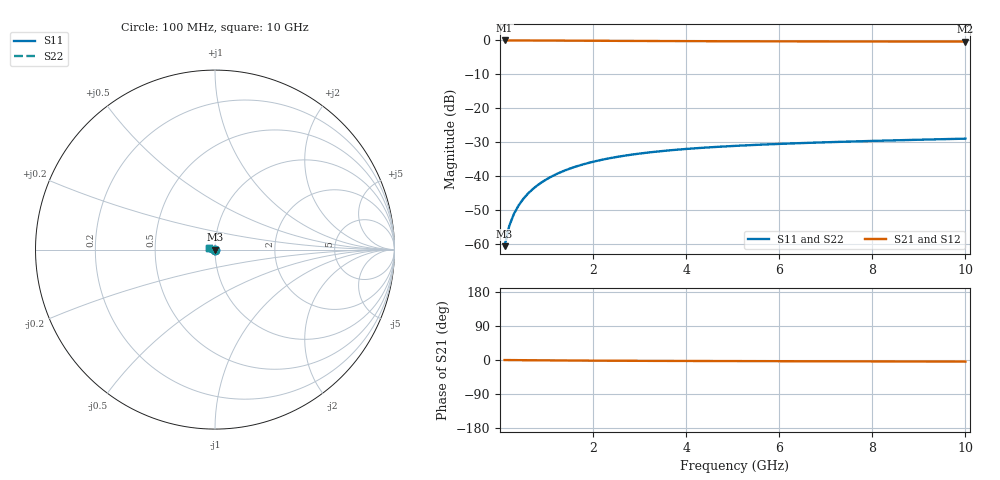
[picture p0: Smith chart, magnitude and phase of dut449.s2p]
! Touchstone file exported from HFSS 2024.1.0
!  File:  C:/UserFiles/LocalFiles/RDL_TSV_Batchsim/temp_TSV1_449_1779696320.aedt
!  Generated:  04:09:56 PM May 25, 2026
!  Design:  TSV1
!  Project:  temp_TSV1_449_1779696320
!  Setup:  Setup1
!  Solution:  Sweep
! Variables:
!  dtsv = 9.94um
!  hbump = 3um
!  htsv = 62.8um
!  lrdl = 252.1521522um
!  p = 40
!  p1 = 52.81um
!  t = 500um
!  trdl = 3um
!  wrdl = 24.89489489um
# GHz S MA R 50.000000
! Terminal data exported
! Port[1] = TSV22_T1
! Port[2] = TSV22_T2
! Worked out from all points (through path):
!   100 points, 100 MHz to 10 GHz, reference 50 ohm
!   highest |S21| = 0.00 dB at 100 MHz (marker M1); lowest = -0.3 dB at 10 GHz (marker M2)
!   lowest |S11| = -60.5 dB at 100 MHz (marker M3), VSWR 1.00, Z = 50 - j0.0936 ohm
!   |S11| at or under -10 dB: start of sweep to end of sweep
!   |S22| runs from -60.5 to -28.9 dB; largest |S21 - S12| = 3.2e-15
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0.1  0.0009407 -84.2  0.9998 -0.1  0.9998 -0.1  0.0009407 -84.2
! Gamma 0 0 0 0
! Port Impedance 50 0 50 0
0.2  0.001871 -89.8  0.9997 -0.2  0.9997 -0.2  0.001871 -89.8
0.3  0.002804 -93.0  0.9996 -0.3  0.9996 -0.3  0.002804 -93.0
0.4  0.003733 -95.6  0.9993 -0.4  0.9993 -0.4  0.003733 -95.6
0.5  0.004654 -98.0  0.999 -0.5  0.999 -0.5  0.004654 -98.0
0.6  0.005565 -100.2  0.9987 -0.6  0.9987 -0.6  0.005565 -100.2
0.7  0.006462 -102.3  0.9983 -0.7  0.9983 -0.7  0.006462 -102.3
0.8  0.007345 -104.3  0.9978 -0.8  0.9978 -0.8  0.007345 -104.3
0.9  0.008212 -106.3  0.9973 -0.9  0.9973 -0.9  0.008212 -106.3
1.1  0.009891 -110.2  0.9962 -1.0  0.9962 -1.0  0.009891 -110.2
1.4  0.01226 -115.7  0.9943 -1.3  0.9943 -1.3  0.01226 -115.7
1.6  0.01373 -119.2  0.9929 -1.4  0.9929 -1.4  0.01373 -119.2
1.8  0.01511 -122.5  0.9915 -1.6  0.9915 -1.6  0.01511 -122.5
2.1  0.01702 -127.2  0.9893 -1.8  0.9893 -1.8  0.01702 -127.2
2.5  0.01927 -133.1  0.9864 -2.0  0.9864 -2.0  0.01927 -133.1
2.9  0.02121 -138.4  0.9837 -2.2  0.9837 -2.2  0.02121 -138.4
3.4  0.02328 -144.5  0.9806 -2.4  0.9806 -2.4  0.02328 -144.5
4.2  0.02592 -152.9  0.9763 -2.6  0.9763 -2.6  0.02592 -152.9
5.1  0.02822 -160.9  0.9726 -2.9  0.9726 -2.9  0.02822 -160.9
6.7  0.03127 -172.6  0.9679 -3.3  0.9679 -3.3  0.03127 -172.6
8.4  0.0338 177.6  0.9647 -3.8  0.9647 -3.8  0.0338 177.6
10  0.03591 169.8  0.9626 -4.2  0.9626 -4.2  0.03591 169.8
